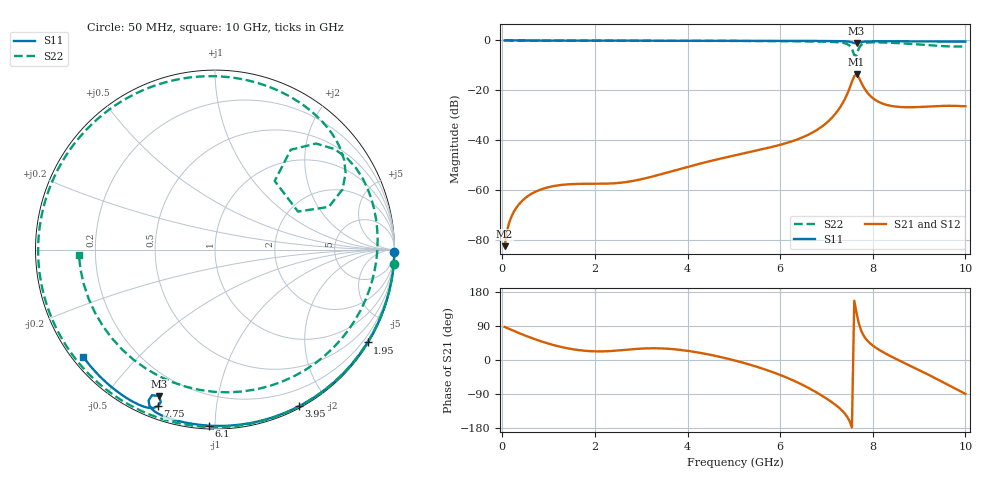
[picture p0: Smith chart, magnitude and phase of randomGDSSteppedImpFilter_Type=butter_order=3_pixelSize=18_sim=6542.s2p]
! freq	dB(S11)	phase(S11)	dB(S12)	phase(S12)
!  dB(S21)	phase(S21)	dB(S22)	phase(S22)
!S-par simulation data
#  GHz  S  DB  R 50
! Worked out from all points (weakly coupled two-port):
!   200 points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, 50 MHz to 10 GHz, reference 50 ohm
!   highest |S21| = -13.61 dB at 7.65 GHz (marker M1); lowest = -82.4 dB at 50 MHz (marker M2)
!   lowest |S11| = -1.2 dB at 7.65 GHz (marker M3), VSWR 14.75, Z = 4.99 - j34.2 ohm
!   |S11| at or under -10 dB: nowhere
!   |S22| runs from -5.9 to 0.0 dB; largest |S21 - S12| = 0
!   S11 on the Smith chart (normalised r, x): 50 MHz: open; 1.95 GHz: 0.03, -3.57; 3.95 GHz: 0.02, -1.67; 6.1 GHz: 0.02, -0.97; 7.75 GHz: 0.05, -0.70; 10 GHz: 0.03, -0.36
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0.05  -0.00 -0.8  -82.38 87.3  -82.38 87.3  -0.00 -4.6
0.25  -0.01 -4.1  -68.58 76.7  -68.58 76.7  -0.03 -22.4
0.55  -0.01 -9.0  -62.36 61.9  -62.36 61.9  -0.06 -47.9
1.05  -0.02 -17.0  -58.53 41.4  -58.53 41.4  -0.09 -84.7
1.75  -0.04 -28.2  -57.40 24.7  -57.40 24.7  -0.11 -124.0
1.95  -0.04 -31.3  -57.39 23.0  -57.39 23.0  -0.11 -133.2
3.4  -0.07 -53.6  -53.70 30.7  -53.70 30.7  -0.13 174.9
3.95  -0.08 -61.7  -50.88 25.0  -50.88 25.0  -0.15 158.6
5.05  -0.12 -77.5  -45.90 -2.2  -45.90 -2.2  -0.20 126.6
6.1  -0.16 -92.0  -41.27 -44.4  -41.27 -44.4  -0.29 93.5
6.7  -0.20 -100.1  -36.86 -79.6  -36.86 -79.6  -0.40 71.3
7.15  -0.24 -106.5  -30.27 -114.3  -30.27 -114.3  -0.61 50.8
7.45  -0.41 -111.7  -21.38 -150.4  -21.38 -150.4  -1.48 30.3
7.6  -1.07 -113.4  -14.28 156.7  -14.28 156.7  -5.87 24.6
7.65  -1.18 -110.9  -13.61 124.2  -13.61 124.2  -5.90 49.0
7.75  -0.64 -110.1  -16.83 77.3  -16.83 77.3  -1.76 46.4
7.95  -0.36 -113.9  -22.28 43.2  -22.28 43.2  -0.79 25.8
8.35  -0.33 -119.8  -26.04 12.2  -26.04 12.2  -0.90 -3.6
8.8  -0.36 -125.7  -26.75 -14.8  -26.75 -14.8  -1.35 -39.6
9.25  -0.40 -131.3  -26.42 -41.9  -26.42 -41.9  -1.95 -84.6
9.6  -0.43 -135.7  -26.19 -64.0  -26.19 -64.0  -2.35 -126.5
10  -0.47 -140.7  -26.34 -89.3  -26.34 -89.3  -2.39 -177.9
